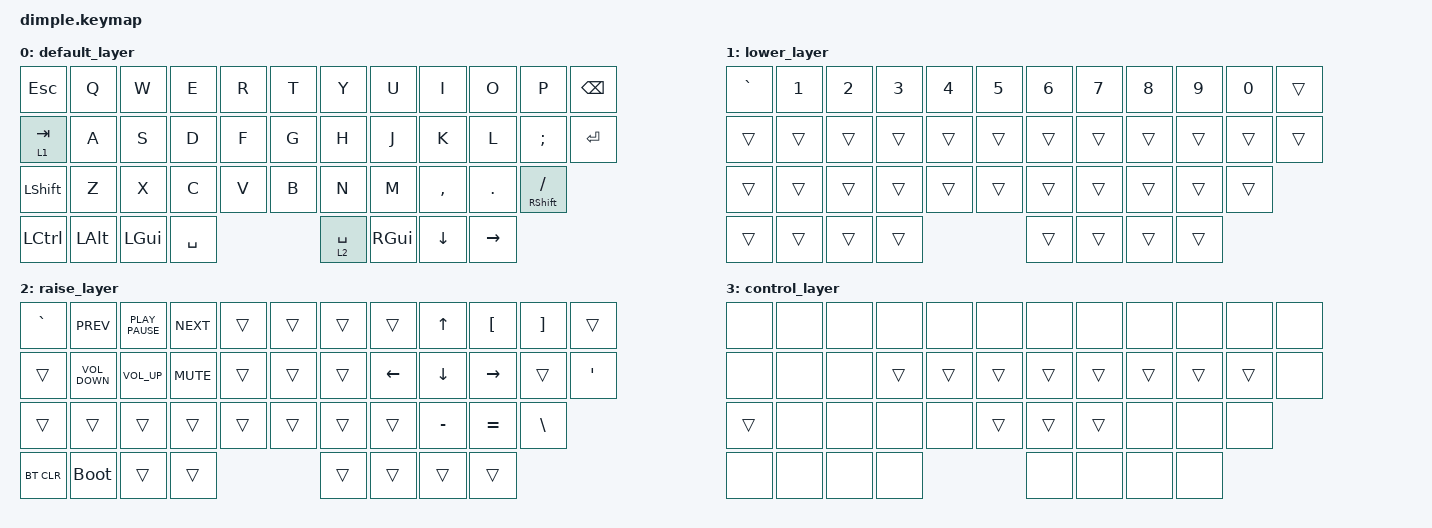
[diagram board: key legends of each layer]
/*
 * Copyright (c) 2022 LAZYDESIGNERS
 *
 * SPDX-License-Identifier: MIT
 */

#include <behaviors.dtsi>
#include <dt-bindings/zmk/bt.h>
#include <dt-bindings/zmk/keys.h>

#define DEFAULT 0
#define LOWER   1
#define RAISE   2
#define CONTROL 3

/ {
    keymap {
        compatible = "zmk,keymap";

        default_layer {
            bindings = <
  &kp ESC  &kp Q         &kp W         &kp E      &kp R  &kp T        &kp Y          &kp U      &kp I      &kp O                  &kp P   &kp BSPC
&lt 1 TAB  &kp A         &kp S         &kp D      &kp F  &kp G        &kp H          &kp J      &kp K      &kp L               &kp SEMI  &kp ENTER
&kp LSHFT  &kp Z         &kp X         &kp C      &kp V  &kp B        &kp N          &kp M  &kp COMMA    &kp DOT  &mt RIGHT_SHIFT SLASH
&kp LCTRL         &kp LEFT_ALT  &kp LEFT_GUI  &kp SPACE         &lt 2 SPACE  &kp RIGHT_GUI   &kp DOWN  &kp RIGHT
            >;
        };

        lower_layer {
            bindings = <
&kp GRAVE  &kp NUMBER_1  &kp N2  &kp N3  &kp N4  &kp N5  &kp N6  &kp N7  &kp N8  &kp N9  &kp N0  &trans
   &trans        &trans  &trans  &trans  &trans  &trans  &trans  &trans  &trans  &trans  &trans  &trans
   &trans        &trans  &trans  &trans  &trans  &trans  &trans  &trans  &trans  &trans  &trans
   &trans                &trans  &trans  &trans          &trans  &trans  &trans  &trans
            >;
        };

        raise_layer {
            bindings = <
 &kp GRAVE         &kp K_PREV  &kp K_PLAY_PAUSE  &kp K_NEXT  &trans  &trans  &trans          &trans    &kp UP_ARROW  &kp LEFT_BRACKET  &kp RIGHT_BRACKET            &trans
    &trans  &kp K_VOLUME_DOWN   &kp K_VOLUME_UP  &kp K_MUTE  &trans  &trans  &trans  &kp LEFT_ARROW  &kp DOWN_ARROW   &kp RIGHT_ARROW             &trans  &kp SINGLE_QUOTE
    &trans             &trans            &trans      &trans  &trans  &trans  &trans          &trans       &kp MINUS         &kp EQUAL      &kp BACKSLASH
&bt BT_CLR                          &bootloader      &trans  &trans          &trans          &trans          &trans            &trans
            >;
        };

        control_layer {
            bindings = <
 &none  &none  &none   &none   &none   &none   &none   &none   &none   &none   &none  &none
 &none  &none  &none  &trans  &trans  &trans  &trans  &trans  &trans  &trans  &trans  &none
&trans  &none  &none   &none   &none  &trans  &trans  &trans   &none   &none   &none
 &none         &none   &none   &none           &none   &none   &none   &none
            >;
        };
    };
};
